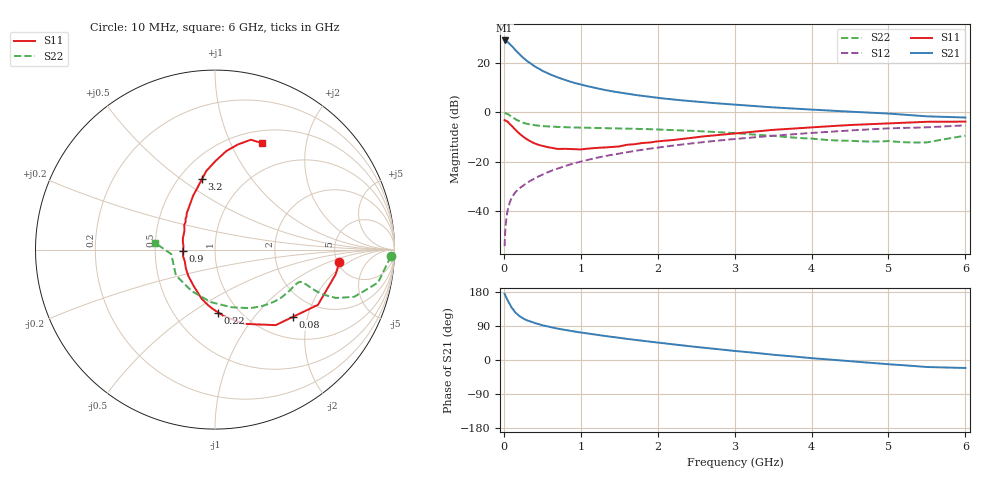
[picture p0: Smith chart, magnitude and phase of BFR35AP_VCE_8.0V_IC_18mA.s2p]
! Infineon Technologies  Discrete & RF Semiconductors
! BFR35AP
! VCE =  8.0 V,  IC =  18 mA
! Common Emitter S-Parameters:  Nov 2015
# GHz  S  MA  R  50
!  f  S11  S21  S12  S22
! GHz  MAG  ANG  MAG  ANG  MAG  ANG  MAG  ANG
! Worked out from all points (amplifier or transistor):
!   210 points, 10 MHz to 6 GHz, reference 50 ohm
!   highest |S21| = 29.3 dB at 10 MHz (marker M1)
!   |S21| within 3 dB of that: start of sweep to 124.4 MHz
!   unconditionally stable (mu >= 1): 469.4 MHz to 2.745 GHz
!   at 185 MHz: K = 0.67, MSG = 27.8 dB, |S12| = -31.4 dB
!   at 1.52 GHz: K = 1.09, MAG = 10.4 dB, |S12| = -16.6 dB
!   at 6 GHz: K = 0.90, MSG = 1.6 dB, |S12| = -5.3 dB
!   S11 on the Smith chart (normalised r, x): 10 MHz: 5.20, -1.39; 80 MHz: 1.45, -1.62; 220 MHz: 0.81, -0.65; 900 MHz: 0.70, -0.01; 3.2 GHz: 0.64, +0.60; 6 GHz: 0.64, +1.32
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0.01  0.6962 -5.7  29.04 174.6  0.0019 86.6  0.9808 -2.2
0.02  0.6862 -11.6  28.67 169.7  0.0043 83.9  0.9621 -4.8
0.05  0.651 -28.2  27.05 156.6  0.0103 79.1  0.9262 -11.5
0.08  0.5728 -41.0  24.17 146.5  0.0151 72.6  0.8604 -15.6
0.1  0.54 -51.2  22.76 138.5  0.0183 70.2  0.8193 -18.7
0.15  0.4439 -68.7  18.53 125.1  0.0237 65.7  0.725 -21.8
0.2  0.3738 -82.5  15.37 116.3  0.0283 65.6  0.6609 -22.5
0.22  0.3511 -87.0  14.37 113.9  0.0299 65.6  0.6428 -22.5
0.26  0.3134 -96.8  12.55 108.7  0.0331 65.8  0.6093 -22.3
0.3  0.2832 -105.3  11.12 104.6  0.0368 66.7  0.5843 -21.9
0.4  0.2338 -120.9  8.659 97.6  0.0452 67.5  0.5481 -21.0
0.5  0.2086 -135.6  7.016 91.6  0.054 69.0  0.5263 -20.6
0.6  0.1925 -147.7  5.939 86.9  0.0632 69.7  0.5147 -20.5
0.9  0.1796 -177.3  4.045 75.6  0.0906 69.4  0.494 -22.3
1.02  0.1777 172.8  3.62 71.9  0.1018 69.1  0.4892 -23.5
1.4  0.1985 149.2  2.693 61.1  0.1366 66.8  0.4764 -28.2
2.02  0.2593 127.0  1.961 45.6  0.1941 61.3  0.4483 -38.2
3.1  0.3854 102.2  1.394 22.1  0.2964 50.1  0.3684 -62.0
3.2  0.3989 100.5  1.359 20.2  0.3057 48.8  0.358 -64.9
4.1  0.5076 88.0  1.117 3.4  0.3911 38.2  0.2833 -99.4
5.1  0.6072 76.6  0.922 -12.5  0.4773 24.2  0.2532 -151.8
6  0.648 66.4  0.786 -21.1  0.5447 13.4  0.3352 173.7
